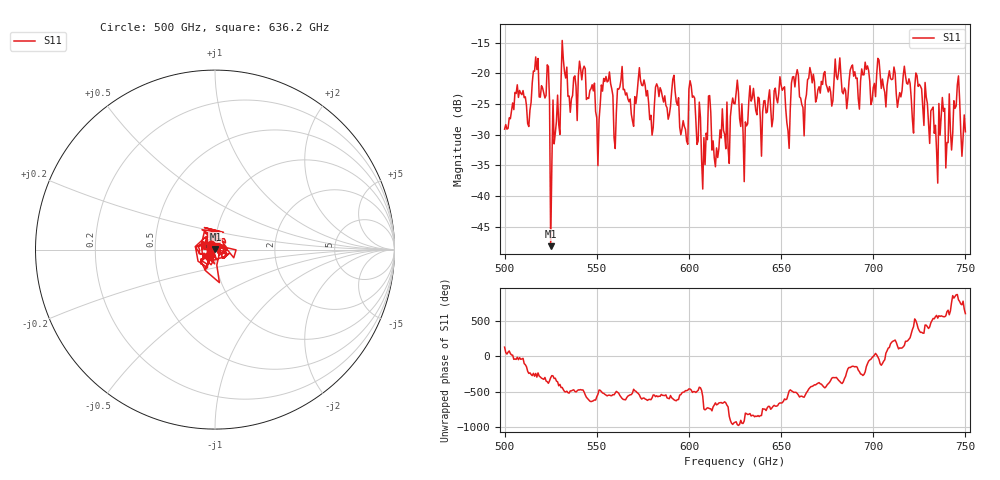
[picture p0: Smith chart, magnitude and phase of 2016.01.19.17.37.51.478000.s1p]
!Created with skrf (http://scikit-rf.org).
# GHz S RI R 50.0
!freq ReS11 ImS11
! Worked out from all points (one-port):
!   401 points, 500 GHz to 750 GHz, reference 50 ohm
!   lowest |S11| = -48.2 dB at 525 GHz (marker M1), VSWR 1.01, Z = 50.2 + j0.324 ohm
!   |S11| at or under -10 dB: start of sweep to end of sweep
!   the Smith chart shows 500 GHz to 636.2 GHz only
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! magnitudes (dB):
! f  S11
! 500 GHz  -29.1
! 513.1 GHz  -28.7
! 516.9 GHz  -17.3
! 523.1 GHz  -18.6
! 525 GHz  -48.2
! 526.2 GHz  -24.3
! 531.2 GHz  -14.6
! 541.9 GHz  -21.1
! 550.6 GHz  -35.1
! 553.8 GHz  -20.8
! 562.5 GHz  -22.2
! 593.8 GHz  -25.2
! 598.1 GHz  -29.1
! 601.2 GHz  -22.1
! 608.1 GHz  -30.5
! 610.6 GHz  -23.7
! 615 GHz  -32.2
! 625 GHz  -25.0
! 630.6 GHz  -27.9
! 633.8 GHz  -24.5
! 650.6 GHz  -22.8
! 653.8 GHz  -29.4
! 656.2 GHz  -20.6
! 687.5 GHz  -19.5
! 718.8 GHz  -21.8
! 733.8 GHz  -28.5
! 745 GHz  -25.3
! 750 GHz  -29.5
